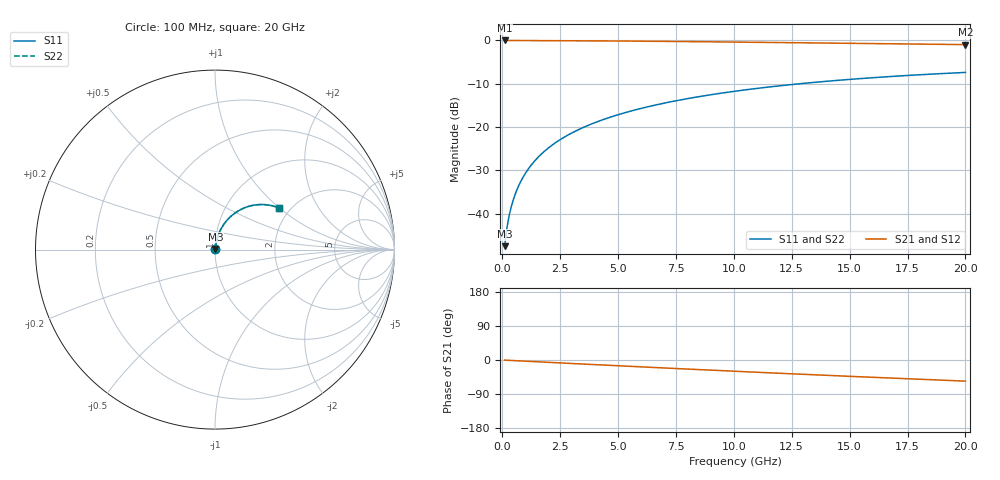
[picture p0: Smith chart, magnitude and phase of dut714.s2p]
! Touchstone file exported from HFSS 2026.1.0
!  File:  C:/ffzhzh/LocalFiles/Ansys_Project_Files/temp_train_TMRDL_714_1783154624_43440.aedt
!  Generated:  04:45:08 PM Jul  4, 2026
!  Design:  TMRDL
!  Project:  temp_train_TMRDL_714_1783154624_43440
! Variables:
!  h_bsmrdl = 2um
!  h_ox = 20um
!  h_rdl = 5um
!  h_sub = 80um
!  h_tmrdl = 4.8um
!  h_tsv = 80um
!  h_via = 3um
!  l_bsmrdl = 300um
!  l_sub = 1284.69um
!  l_tmrdl = 884.69um
!  m_sub = 200um
!  pitch = 52.45um
!  r_tsv = 6um
!  s_tmrdl = 10um
!  w_bsmrdl = 18um
!  w_sub = 500um
!  w_tmrdl = 25.89um
!  x_tsv_center1 = 897.635um
!  x_tsv_center2 = 1215.635um
!  x_tsv_center3 = 2126.215um
!  x_tsv_center4 = 2444.215um
!  x_tsv_center5 = 3354.795um
!  x_tsv_center6 = 3672.795um
# GHz S MA R 50.000000
! Terminal data exported
! Port[1] = TM_RDL1_1_T1
! Port[2] = TM_RDL1_1_T2
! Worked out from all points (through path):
!   200 points, 100 MHz to 20 GHz, reference 50 ohm
!   highest |S21| = -0.02 dB at 100 MHz (marker M1); lowest = -1.0 dB at 20 GHz (marker M2)
!   group delay of S21, straight-line fit = 7.74 ps
!   lowest |S11| = -47.5 dB at 100 MHz (marker M3), VSWR 1.01, Z = 50.3 + j0.319 ohm
!   |S11| at or under -10 dB: start of sweep to 12.88 GHz
!   |S22| runs from -47.5 to -7.4 dB; largest |S21 - S12| = 3.1e-15
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0.1  0.004201 49.0  0.9973 -0.3  0.9973 -0.3  0.004201 49.0
! Gamma 0 0 0 0
! Port Impedance 50 0 50 0
0.2  0.006856 63.7  0.997 -0.6  0.997 -0.6  0.006856 63.7
0.3  0.009589 69.9  0.9968 -1.0  0.9968 -1.0  0.009589 69.9
0.4  0.01234 73.4  0.9967 -1.3  0.9967 -1.3  0.01234 73.4
0.5  0.01512 75.7  0.9966 -1.6  0.9966 -1.6  0.01512 75.7
0.7  0.02073 78.2  0.9963 -2.2  0.9963 -2.2  0.02073 78.2
0.8  0.02355 78.9  0.9962 -2.5  0.9962 -2.5  0.02355 78.9
1  0.02922 79.8  0.996 -3.1  0.996 -3.1  0.02922 79.7
1.2  0.03489 80.1  0.9957 -3.7  0.9957 -3.7  0.03489 80.1
1.4  0.04056 80.2  0.9953 -4.3  0.9953 -4.3  0.04056 80.2
1.7  0.04904 79.9  0.9947 -5.3  0.9947 -5.3  0.04904 79.9
2  0.05748 79.5  0.994 -6.2  0.994 -6.2  0.05748 79.5
2.7  0.07696 78.0  0.9921 -8.3  0.9921 -8.3  0.07696 78.0
3.5  0.09879 75.9  0.9894 -10.7  0.9894 -10.7  0.09879 75.9
4.2  0.1175 74.1  0.9867 -12.8  0.9867 -12.8  0.1175 74.0
5  0.1384 71.9  0.9833 -15.2  0.9833 -15.2  0.1384 71.8
6.8  0.1837 66.9  0.9746 -20.5  0.9746 -20.5  0.1837 66.9
8.3  0.2194 62.8  0.9664 -24.8  0.9664 -24.8  0.2194 62.8
10.1  0.2597 57.9  0.9556 -29.9  0.9556 -29.9  0.2597 57.9
13.4  0.3259 49.3  0.9344 -38.9  0.9344 -38.9  0.3259 49.2
16.7  0.3814 40.9  0.9129 -47.5  0.9129 -47.5  0.3813 40.8
20  0.4262 32.8  0.8928 -55.7  0.8928 -55.7  0.4261 32.8
